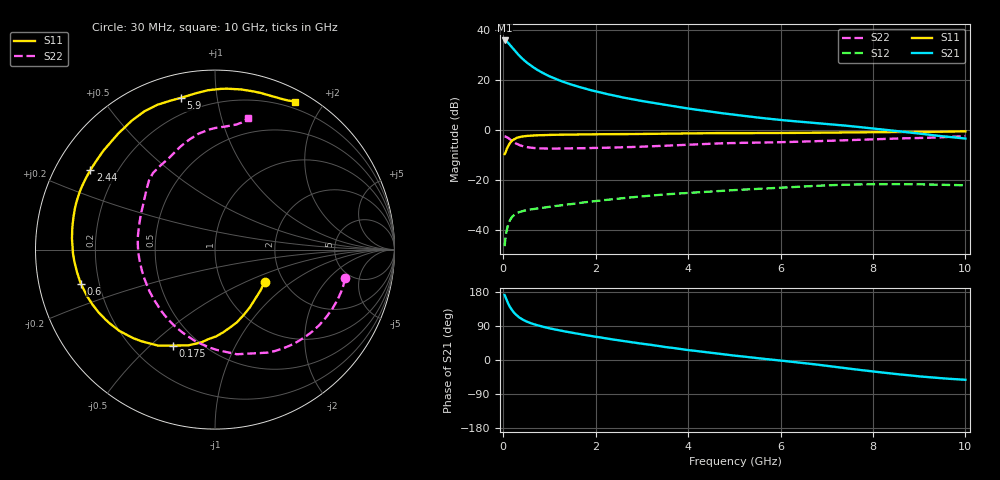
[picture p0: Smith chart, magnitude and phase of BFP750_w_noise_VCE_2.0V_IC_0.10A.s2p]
! Infineon Technologies  Discrete & RF Semiconductors
! BFP750
! VCE =  2.0 V,  IC = 0.10 A
! Common Emitter S-Parameters:  Jan 2016
# GHz  S  MA  R  50
!  f  S11  S21  S12  S22
! GHz  MAG  ANG  MAG  ANG  MAG  ANG  MAG  ANG
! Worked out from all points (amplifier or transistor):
!   229 points, 30 MHz to 10 GHz, reference 50 ohm
!   highest |S21| = 35.8 dB at 30 MHz (marker M1)
!   |S21| within 3 dB of that: start of sweep to 201.6 MHz
!   unconditionally stable (mu >= 1): 2.492 GHz to end of sweep
!   at 280 MHz: K = 0.31, MSG = 32.3 dB, |S12| = -33.5 dB
!   at 1.78 GHz: K = 0.86, MSG = 22.7 dB, |S12| = -29.0 dB
!   at 10 GHz: K = 1.09, MAG = 7.5 dB, |S12| = -22.2 dB
!   lowest NFmin = 1.57 dB at 450 MHz
!   S11 on the Smith chart (normalised r, x): 30 MHz: 1.61, -0.64; 175 MHz: 0.36, -0.59; 600 MHz: 0.13, -0.12; 2.44 GHz: 0.10, +0.29; 5.9 GHz: 0.12, +0.79; 10 GHz: 0.12, +1.67
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0.03  0.3287 -32.8  61.98 171.5  0.0047 56.5  0.7431 -12.5
0.05  0.3543 -50.8  61.16 165.0  0.0072 59.7  0.7379 -22.4
0.07  0.3991 -66.7  59.61 158.9  0.0092 58.1  0.7248 -31.4
0.1  0.4637 -84.5  56.36 150.7  0.012 55.0  0.699 -44.2
0.14  0.5375 -102.1  51.31 141.3  0.0152 49.6  0.656 -59.5
0.175  0.5838 -113.7  46.94 134.7  0.0172 45.4  0.6147 -70.2
0.2  0.6221 -120.7  44.06 129.7  0.0185 42.8  0.5956 -78.2
0.26  0.6722 -132.9  37.92 121.5  0.0207 37.9  0.5474 -93.0
0.3  0.6993 -139.6  34.3 116.7  0.0217 35.5  0.5235 -101.7
0.34  0.7156 -144.8  31.33 113.1  0.0225 33.6  0.5028 -108.8
0.45  0.7483 -155.9  24.93 104.7  0.0241 30.1  0.4667 -124.8
0.6  0.7715 -165.8  19.32 96.9  0.0256 28.0  0.4412 -140.0
0.8  0.786 -174.9  14.75 89.4  0.0272 27.3  0.4275 -153.6
1  0.7952 178.3  11.88 83.6  0.0288 27.5  0.4239 -163.1
1.7  0.816 161.4  7.017 67.5  0.0349 28.5  0.4311 176.4
2.44  0.8239 147.4  4.784 53.0  0.0416 27.4  0.4449 161.6
3.4  0.838 131.5  3.29 36.3  0.0502 23.2  0.478 146.2
5.1  0.8674 110.7  1.965 10.4  0.0631 13.5  0.5501 128.0
5.9  0.8667 102.8  1.619 -0.2  0.0689 8.5  0.5654 118.9
6.8  0.8831 94.6  1.367 -12.3  0.0761 1.3  0.5959 110.5
8.4  0.9073 76.0  0.975 -35.7  0.0822 -14.3  0.6697 92.8
10  0.938 61.6  0.673 -52.2  0.0779 -26.4  0.754 75.7
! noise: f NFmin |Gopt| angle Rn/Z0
0.45  1.57  0.34  -169  0.3
0.9  1.58  0.42  -164  0.15
1.5  1.6  0.52  -154  0.09
1.9  1.6  0.53  -148  0.1
2.4  1.6  0.53  -141  0.13
3.5  1.86  0.53  -124  0.19
